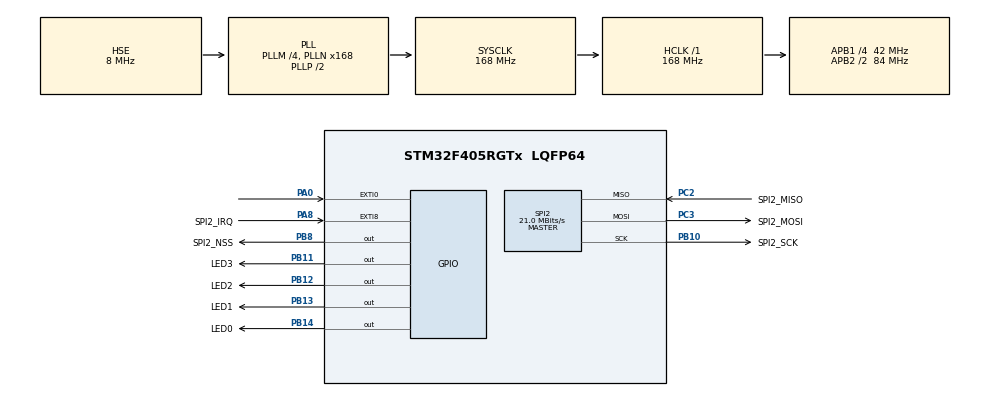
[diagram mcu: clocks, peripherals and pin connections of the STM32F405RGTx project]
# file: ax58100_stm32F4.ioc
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Dma.Request0=SPI2_RX
Dma.Request1=SPI2_TX
Dma.SPI2_RX.0.Direction=DMA_PERIPH_TO_MEMORY
Dma.SPI2_RX.0.FIFOMode=DMA_FIFOMODE_DISABLE
Dma.SPI2_RX.0.Instance=DMA1_Stream3
Dma.SPI2_RX.0.MemDataAlignment=DMA_MDATAALIGN_BYTE
Dma.SPI2_RX.0.MemInc=DMA_MINC_ENABLE
Dma.SPI2_RX.0.Mode=DMA_NORMAL
Dma.SPI2_RX.0.PeriphDataAlignment=DMA_PDATAALIGN_BYTE
Dma.SPI2_RX.0.PeriphInc=DMA_PINC_DISABLE
Dma.SPI2_RX.0.Priority=DMA_PRIORITY_HIGH
Dma.SPI2_TX.1.Direction=DMA_MEMORY_TO_PERIPH
Dma.SPI2_TX.1.FIFOMode=DMA_FIFOMODE_DISABLE
Dma.SPI2_TX.1.Instance=DMA1_Stream4
Dma.SPI2_TX.1.MemDataAlignment=DMA_MDATAALIGN_BYTE
Dma.SPI2_TX.1.MemInc=DMA_MINC_ENABLE
Dma.SPI2_TX.1.Mode=DMA_NORMAL
Dma.SPI2_TX.1.PeriphDataAlignment=DMA_PDATAALIGN_BYTE
Dma.SPI2_TX.1.PeriphInc=DMA_PINC_DISABLE
Dma.SPI2_TX.1.Priority=DMA_PRIORITY_HIGH
FREERTOS.Tasks01=ledTask,24,128,LedTask,Default,NULL,Dynamic,NULL,NULL
Mcu.Family=STM32F4
Mcu.Name=STM32F405RGTx
Mcu.Package=LQFP64
NVIC.DMA1_Stream3_IRQn=true\:5\:0\:false\:false\:true\:true\:false\:true\:true
NVIC.DMA1_Stream4_IRQn=true\:5\:0\:false\:false\:true\:true\:false\:true\:true
NVIC.EXTI0_IRQn=true\:5\:0\:false\:false\:true\:true\:true\:true\:true
NVIC.EXTI9_5_IRQn=true\:5\:0\:false\:false\:true\:true\:true\:true\:true
NVIC.PriorityGroup=NVIC_PRIORITYGROUP_4
NVIC.TIM6_DAC_IRQn=true\:15\:0\:false\:false\:true\:false\:false\:true\:true
NVIC.TimeBase=TIM6_DAC_IRQn
NVIC.TimeBaseIP=TIM6
PA0-WKUP.Signal=GPXTI0
PA8.GPIO_Label=SPI2_IRQ
PA8.GPIO_ModeDefaultEXTI=GPIO_MODE_IT_FALLING
PA8.Signal=GPXTI8
PB10.GPIO_Label=SPI2_SCK
PB10.Mode=Full_Duplex_Master
PB10.Signal=SPI2_SCK
PB11.GPIO_Label=LED3
PB11.Signal=GPIO_Output
PB12.GPIO_Label=LED2
PB12.Signal=GPIO_Output
PB13.GPIO_Label=LED1
PB13.Signal=GPIO_Output
PB14.GPIO_Label=LED0
PB14.Signal=GPIO_Output
PB8.GPIO_Label=SPI2_NSS
PB8.Signal=GPIO_Output
PC2.GPIO_Label=SPI2_MISO
PC2.Mode=Full_Duplex_Master
PC2.Signal=SPI2_MISO
PC3.GPIO_Label=SPI2_MOSI
PC3.Mode=Full_Duplex_Master
PC3.Signal=SPI2_MOSI
PH0-OSC_IN.Mode=HSE-External-Oscillator
PH0-OSC_IN.Signal=RCC_OSC_IN
PH1-OSC_OUT.Mode=HSE-External-Oscillator
PH1-OSC_OUT.Signal=RCC_OSC_OUT
ProjectManager.HeapSize=0x200
ProjectManager.StackSize=0x400
ProjectManager.TargetToolchain=Makefile
RCC.48MHZClocksFreq_Value=48000000
RCC.AHBFreq_Value=168000000
RCC.APB1CLKDivider=RCC_HCLK_DIV4
RCC.APB1Freq_Value=42000000
RCC.APB1TimFreq_Value=84000000
RCC.APB2CLKDivider=RCC_HCLK_DIV2
RCC.APB2Freq_Value=84000000
RCC.APB2TimFreq_Value=168000000
RCC.CortexFreq_Value=168000000
RCC.HCLKFreq_Value=168000000
RCC.HSE_VALUE=8000000
RCC.HSI_VALUE=16000000
RCC.LSE_VALUE=32768
RCC.PLLM=4
RCC.PLLN=168
RCC.PLLQ=7
RCC.PLLSourceVirtual=RCC_PLLSOURCE_HSE
RCC.SYSCLKFreq_VALUE=168000000
RCC.SYSCLKSource=RCC_SYSCLKSOURCE_PLLCLK
RCC.VCOOutputFreq_Value=336000000
SPI2.BaudRatePrescaler=SPI_BAUDRATEPRESCALER_2
SPI2.CRCCalculation=SPI_CRCCALCULATION_ENABLE
SPI2.CRCPolynomial=X7
SPI2.CalculateBaudRate=21.0 MBits/s
SPI2.Direction=SPI_DIRECTION_2LINES
SPI2.Mode=SPI_MODE_MASTER
SPI2.VirtualType=VM_MASTER
VP_FREERTOS_VS_CMSIS_V2.Mode=CMSIS_V2
VP_SYS_VS_tim6.Mode=TIM6
board=custom

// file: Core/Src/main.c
/* USER CODE BEGIN Header */
/**
  ******************************************************************************
  * @file           : main.c
  * @brief          : Main program body
  ******************************************************************************
  * @attention
  *
  * Copyright (c) 2023 STMicroelectronics.
  * All rights reserved.
  *
  * This software is licensed under terms that can be found in the LICENSE file
  * in the root directory of this software component.
  * If no LICENSE file comes with this software, it is provided AS-IS.
  *
  ******************************************************************************
  */
/* USER CODE END Header */
#include "main.h"
#include "cmsis_os.h"

/* USER CODE BEGIN Includes */
 _Rbuffer Rb;
 _Wbuffer Wb;
 _Cbuffer Cb;
 uint32_t encoder_scale;
 uint32_t encoder_scale_mirror;
/* USER CODE END Includes */

/* USER CODE BEGIN PM */
void ecatapp_loop()
{
    // stack in mixed mode
    if (sync0_irq_flag) {
        ESC_updateALevent();
        DIG_process (DIG_PROCESS_APP_HOOK_FLAG | DIG_PROCESS_INPUTS_FLAG);
        sync0_irq_flag = 0;
    }
    if (pdi_irq_flag) {
        ESC_updateALevent();
        if (ESCvar.dcsync) {
            DIG_process (DIG_PROCESS_OUTPUTS_FLAG);
        } else {
            DIG_process (DIG_PROCESS_OUTPUTS_FLAG | DIG_PROCESS_APP_HOOK_FLAG | DIG_PROCESS_INPUTS_FLAG);
        }
        pdi_irq_flag = 0;
    } else {
        // ecat_slv_worker(ESCREG_ALEVENT_CONTROL | ESCREG_ALEVENT_SMCHANGE
        //                 | ESCREG_ALEVENT_SM0 | ESCREG_ALEVENT_SM1);
        ecat_slv_poll();
        DIG_process(DIG_PROCESS_WD_FLAG);
    }
}
/* USER CODE END PM */

SPI_HandleTypeDef hspi2;
DMA_HandleTypeDef hdma_spi2_rx;
DMA_HandleTypeDef hdma_spi2_tx;

/* Definitions for ledTask */
osThreadId_t ledTaskHandle;
const osThreadAttr_t ledTask_attributes = {
  .name = "ledTask",
  .stack_size = 128 * 4,
  .priority = (osPriority_t) osPriorityNormal,
};

void SystemClock_Config(void);
static void MX_GPIO_Init(void);
static void MX_DMA_Init(void);
static void MX_SPI2_Init(void);
void LedTask(void *argument);

int main(void)
{

  /* MCU Configuration--------------------------------------------------------*/

  /* Reset of all peripherals, Initializes the Flash interface and the Systick. */
  HAL_Init();

  /* Configure the system clock */
  SystemClock_Config();

  /* Initialize all configured peripherals */
  MX_GPIO_Init();
  MX_DMA_Init();
  MX_SPI2_Init();

  /* Init scheduler */
  osKernelInitialize();

  /* Create the thread(s) */
  /* creation of ledTask */
  ledTaskHandle = osThreadNew(LedTask, NULL, &ledTask_attributes);

  /* Start scheduler */
  osKernelStart();

  /* We should never get here as control is now taken by the scheduler */
  /* Infinite loop */
  while (1)
  {

  }
}

void SystemClock_Config(void)
{
  RCC_OscInitTypeDef RCC_OscInitStruct = {0};
  RCC_ClkInitTypeDef RCC_ClkInitStruct = {0};

  /** Configure the main internal regulator output voltage
  */
  __HAL_RCC_PWR_CLK_ENABLE();
  __HAL_PWR_VOLTAGESCALING_CONFIG(PWR_REGULATOR_VOLTAGE_SCALE1);

  /** Initializes the RCC Oscillators according to the specified parameters
  * in the RCC_OscInitTypeDef structure.
  */
  RCC_OscInitStruct.OscillatorType = RCC_OSCILLATORTYPE_HSE;
  RCC_OscInitStruct.HSEState = RCC_HSE_ON;
  RCC_OscInitStruct.PLL.PLLState = RCC_PLL_ON;
  RCC_OscInitStruct.PLL.PLLSource = RCC_PLLSOURCE_HSE;
  RCC_OscInitStruct.PLL.PLLM = 4;
  RCC_OscInitStruct.PLL.PLLN = 168;
  RCC_OscInitStruct.PLL.PLLP = RCC_PLLP_DIV2;
  RCC_OscInitStruct.PLL.PLLQ = 7;
  if (HAL_RCC_OscConfig(&RCC_OscInitStruct) != HAL_OK)
  {
    Error_Handler();
  }

  /** Initializes the CPU, AHB and APB buses clocks
  */
  RCC_ClkInitStruct.ClockType = RCC_CLOCKTYPE_HCLK|RCC_CLOCKTYPE_SYSCLK
                              |RCC_CLOCKTYPE_PCLK1|RCC_CLOCKTYPE_PCLK2;
  RCC_ClkInitStruct.SYSCLKSource = RCC_SYSCLKSOURCE_PLLCLK;
  RCC_ClkInitStruct.AHBCLKDivider = RCC_SYSCLK_DIV1;
  RCC_ClkInitStruct.APB1CLKDivider = RCC_HCLK_DIV4;
  RCC_ClkInitStruct.APB2CLKDivider = RCC_HCLK_DIV2;

  if (HAL_RCC_ClockConfig(&RCC_ClkInitStruct, FLASH_LATENCY_5) != HAL_OK)
  {
    Error_Handler();
  }
}

static void MX_SPI2_Init(void)
{

  /* SPI2 parameter configuration*/
  hspi2.Instance = SPI2;
  hspi2.Init.Mode = SPI_MODE_MASTER;
  hspi2.Init.Direction = SPI_DIRECTION_2LINES;
  hspi2.Init.DataSize = SPI_DATASIZE_8BIT;
  hspi2.Init.CLKPolarity = SPI_POLARITY_LOW;
  hspi2.Init.CLKPhase = SPI_PHASE_1EDGE;
  hspi2.Init.NSS = SPI_NSS_SOFT;
  hspi2.Init.BaudRatePrescaler = SPI_BAUDRATEPRESCALER_2;
  hspi2.Init.FirstBit = SPI_FIRSTBIT_MSB;
  hspi2.Init.TIMode = SPI_TIMODE_DISABLE;
  hspi2.Init.CRCCalculation = SPI_CRCCALCULATION_ENABLE;
  hspi2.Init.CRCPolynomial = 128;
  if (HAL_SPI_Init(&hspi2) != HAL_OK)
  {
    Error_Handler();
  }

}

static void MX_DMA_Init(void)
{

  /* DMA controller clock enable */
  __HAL_RCC_DMA1_CLK_ENABLE();

  /* DMA interrupt init */
  /* DMA1_Stream3_IRQn interrupt configuration */
  HAL_NVIC_SetPriority(DMA1_Stream3_IRQn, 5, 0);
  HAL_NVIC_EnableIRQ(DMA1_Stream3_IRQn);
  /* DMA1_Stream4_IRQn interrupt configuration */
  HAL_NVIC_SetPriority(DMA1_Stream4_IRQn, 5, 0);
  HAL_NVIC_EnableIRQ(DMA1_Stream4_IRQn);

}

static void MX_GPIO_Init(void)
{
  GPIO_InitTypeDef GPIO_InitStruct = {0};

  /* GPIO Ports Clock Enable */
  __HAL_RCC_GPIOH_CLK_ENABLE();
  __HAL_RCC_GPIOC_CLK_ENABLE();
  __HAL_RCC_GPIOA_CLK_ENABLE();
  __HAL_RCC_GPIOB_CLK_ENABLE();

  /*Configure GPIO pin Output Level */
  HAL_GPIO_WritePin(GPIOB, LED3_Pin|LED2_Pin|LED1_Pin|LED0_Pin
                          |SPI2_NSS_Pin, GPIO_PIN_RESET);

  /*Configure GPIO pin : PA0 */
  GPIO_InitStruct.Pin = GPIO_PIN_0;
  GPIO_InitStruct.Mode = GPIO_MODE_IT_RISING;
  GPIO_InitStruct.Pull = GPIO_NOPULL;
  HAL_GPIO_Init(GPIOA, &GPIO_InitStruct);

  /*Configure GPIO pins : LED3_Pin LED2_Pin LED1_Pin LED0_Pin
                           SPI2_NSS_Pin */
  GPIO_InitStruct.Pin = LED3_Pin|LED2_Pin|LED1_Pin|LED0_Pin
                          |SPI2_NSS_Pin;
  GPIO_InitStruct.Mode = GPIO_MODE_OUTPUT_PP;
  GPIO_InitStruct.Pull = GPIO_NOPULL;
  GPIO_InitStruct.Speed = GPIO_SPEED_FREQ_LOW;
  HAL_GPIO_Init(GPIOB, &GPIO_InitStruct);

  /*Configure GPIO pin : SPI2_IRQ_Pin */
  GPIO_InitStruct.Pin = SPI2_IRQ_Pin;
  GPIO_InitStruct.Mode = GPIO_MODE_IT_FALLING;
  GPIO_InitStruct.Pull = GPIO_NOPULL;
  HAL_GPIO_Init(SPI2_IRQ_GPIO_Port, &GPIO_InitStruct);

  /* EXTI interrupt init*/
  HAL_NVIC_SetPriority(EXTI0_IRQn, 5, 0);
  HAL_NVIC_EnableIRQ(EXTI0_IRQn);

  HAL_NVIC_SetPriority(EXTI9_5_IRQn, 5, 0);
  HAL_NVIC_EnableIRQ(EXTI9_5_IRQn);

}

/* USER CODE BEGIN 4 */
//test
void ledtest(void)
{
  HAL_GPIO_WritePin(LED0_GPIO_Port,LED0_Pin,GPIO_PIN_SET);
  osDelay(100);
  HAL_GPIO_WritePin(LED0_GPIO_Port,LED0_Pin,GPIO_PIN_RESET);
  osDelay(100);
}
/* USER CODE END 4 */

void LedTask(void *argument)
{
  /* USER CODE BEGIN 5 */
   ecatapp_init();

  /* Infinite loop */
  for(;;)
  {
    //ledtest();
    ecatapp_loop();
  }
  /* USER CODE END 5 */
}

void HAL_TIM_PeriodElapsedCallback(TIM_HandleTypeDef *htim)
{
  if (htim->Instance == TIM6) {
    HAL_IncTick();
  }
}

void Error_Handler(void)
{
  __disable_irq();
  while (1)
  {
  }
}
